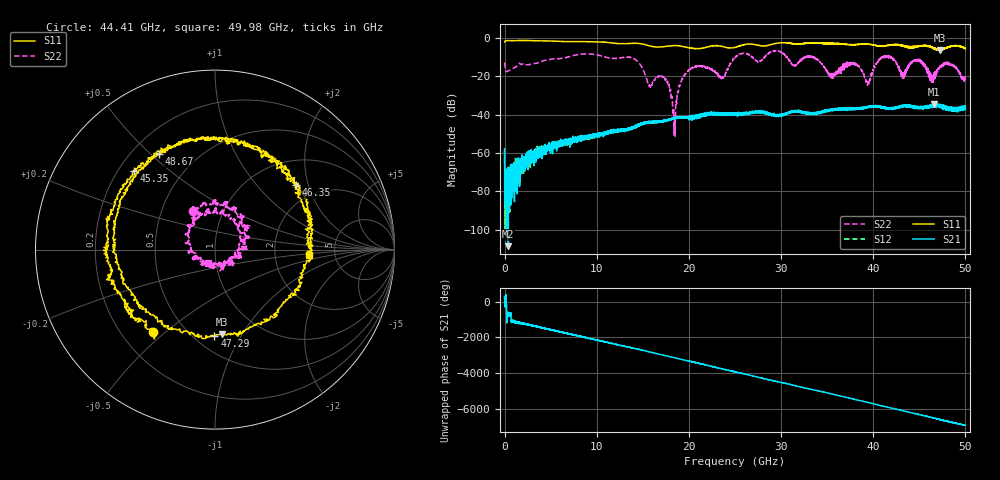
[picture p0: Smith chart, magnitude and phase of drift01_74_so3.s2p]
!Created with skrf (http://scikit-rf.org).
# Hz S RI R 50.0
!freq ReS11 ImS11 ReS21 ImS21 ReS12 ImS12 ReS22 ImS22
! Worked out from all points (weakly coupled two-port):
!   10001 points, 300 kHz to 50 GHz, reference 50 ohm
!   highest |S21| = -34.36 dB at 46.6 GHz (marker M1); lowest = -108.5 dB at 400.3 MHz (marker M2)
!   lowest |S11| = -6.5 dB at 47.28 GHz (marker M3), VSWR 2.78, Z = 33.8 - j40.9 ohm
!   |S11| at or under -10 dB: nowhere
!   |S22| runs from -51.2 to -6.6 dB; largest |S21 - S12| = 0.0037
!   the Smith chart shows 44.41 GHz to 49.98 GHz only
!   S11 on the Smith chart (normalised r, x): 44.41 GHz: 0.33, -0.46; 45.35 GHz: 0.27, +0.38; 46.35 GHz: 1.56, +1.66; 47.29 GHz: 0.62, -0.78; 48.67 GHz: 0.31, +0.53; 49.98 GHz: 3.20, -0.26
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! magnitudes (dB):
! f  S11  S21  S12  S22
! 300 kHz  -2.1  -57.7  -58.5  -12.9
! 400.3 MHz  -1.4  -108.5  -83.4  -17.2
! 8.335 GHz  -1.9  -52.1  -52.5  -8.5
! 16.67 GHz  -4.8  -43.9  -43.9  -19.9
! 17.66 GHz  -4.4  -42.9  -42.8  -22.8
! 18.45 GHz  -4.0  -41.9  -41.7  -44.1
! 19.98 GHz  -5.2  -41.2  -41.3  -16.9
! 23.63 GHz  -4.5  -39.8  -39.9  -20.8
! 25 GHz  -5.0  -39.5  -39.8  -10.2
! 33.34 GHz  -2.6  -39.3  -39.2  -10.0
! 39.43 GHz  -3.3  -35.8  -36.3  -23.5
! 41.67 GHz  -3.8  -36.6  -36.4  -9.9
! 43.25 GHz  -4.1  -35.4  -35.8  -18.7
! 44.41 GHz  -4.8  -35.8  -36.0  -12.1
! 45.35 GHz  -4.1  -36.8  -36.3  -13.7
! 46.35 GHz  -4.8  -35.6  -35.3  -21.7
! 46.6 GHz  -5.4  -34.4  -34.9  -19.0
! 47.28 GHz  -6.5  -35.5  -35.4  -14.7
! 47.29 GHz  -6.4  -36.0  -35.6  -14.9
! 48.67 GHz  -4.2  -37.5  -37.3  -14.3
! 49.98 GHz  -5.6  -36.2  -36.0  -21.3
! 50 GHz  -5.3  -36.8  -36.6  -22.1
